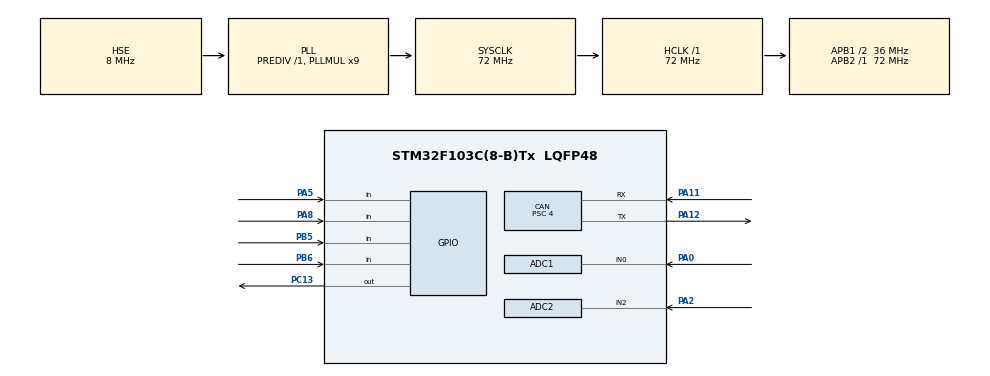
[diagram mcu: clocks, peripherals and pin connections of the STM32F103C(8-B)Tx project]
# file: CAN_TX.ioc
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ADC1.Channel-2\#ChannelRegularConversion=ADC_CHANNEL_0
ADC1.ContinuousConvMode=DISABLE
ADC1.EnableRegularConversion=ENABLE
ADC1.NbrOfConversionFlag=1
ADC1.Rank-2\#ChannelRegularConversion=1
ADC1.SamplingTime-2\#ChannelRegularConversion=ADC_SAMPLETIME_1CYCLE_5
ADC1.master=1
ADC2.Channel-1\#ChannelRegularConversion=ADC_CHANNEL_2
ADC2.ContinuousConvMode=ENABLE
ADC2.EnableRegularConversion=ENABLE
ADC2.NbrOfConversionFlag=1
ADC2.Rank-1\#ChannelRegularConversion=1
ADC2.SamplingTime-1\#ChannelRegularConversion=ADC_SAMPLETIME_1CYCLE_5
CAN.ABOM=ENABLE
CAN.AWUM=ENABLE
CAN.BS1=CAN_BS1_13TQ
CAN.BS2=CAN_BS2_4TQ
CAN.CalculateBaudRate=500000
CAN.CalculateTimeBit=2000
CAN.CalculateTimeQuantum=111.11111111111111
CAN.Prescaler=4
CAN.TXFP=ENABLE
FREERTOS.Queues01=adcQueue,4,sensor_data_t,0,Dynamic,NULL,NULL;gpioQueue,5,sensor_data_t,0,Dynamic,NULL,NULL
FREERTOS.Tasks01=defaultTask,0,128,StartDefaultTask,Default,NULL,Dynamic,NULL,NULL;ADC_Task,0,128,StartTask02,Default,NULL,Dynamic,NULL,NULL;GPIO_Task,0,128,StartTask03,Default,NULL,Dynamic,NULL,NULL;CAN_Task,2,128,StartTask04,Default,NULL,Dynamic,NULL,NULL;Brake_task,1,128,StartTask05,Default,NULL,Dynamic,NULL,NULL
FREERTOS.configTOTAL_HEAP_SIZE=8192
Mcu.Family=STM32F1
Mcu.Name=STM32F103C(8-B)Tx
Mcu.Package=LQFP48
NVIC.PriorityGroup=NVIC_PRIORITYGROUP_4
NVIC.TIM4_IRQn=true\:15\:0\:false\:false\:true\:false\:false\:true\:true
NVIC.TimeBase=TIM4_IRQn
NVIC.TimeBaseIP=TIM4
PA0-WKUP.Signal=ADCx_IN0
PA11.Mode=CAN_Activate
PA11.Signal=CAN_RX
PA12.Mode=CAN_Activate
PA12.Signal=CAN_TX
PA13.Mode=Serial_Wire
PA13.Signal=SYS_JTMS-SWDIO
PA14.Mode=Serial_Wire
PA14.Signal=SYS_JTCK-SWCLK
PA2.Signal=ADCx_IN2
PA5.GPIO_PuPd=GPIO_PULLDOWN
PA5.Signal=GPIO_Input
PA8.GPIO_PuPd=GPIO_PULLDOWN
PA8.Signal=GPIO_Input
PB5.GPIO_PuPd=GPIO_PULLDOWN
PB5.Signal=GPIO_Input
PB6.GPIO_PuPd=GPIO_PULLDOWN
PB6.Signal=GPIO_Input
PC13-TAMPER-RTC.Signal=GPIO_Output
PD0-OSC_IN.Mode=HSE-External-Oscillator
PD0-OSC_IN.Signal=RCC_OSC_IN
PD1-OSC_OUT.Mode=HSE-External-Oscillator
PD1-OSC_OUT.Signal=RCC_OSC_OUT
ProjectManager.HeapSize=0x200
ProjectManager.StackSize=0x400
ProjectManager.TargetToolchain=MDK-ARM V5.32
RCC.ADCPresc=RCC_ADCPCLK2_DIV6
RCC.AHBFreq_Value=72000000
RCC.APB1CLKDivider=RCC_HCLK_DIV2
RCC.APB1Freq_Value=36000000
RCC.APB1TimFreq_Value=72000000
RCC.APB2Freq_Value=72000000
RCC.APB2TimFreq_Value=72000000
RCC.HCLKFreq_Value=72000000
RCC.PLLMUL=RCC_PLL_MUL9
RCC.PLLSourceVirtual=RCC_PLLSOURCE_HSE
RCC.SYSCLKFreq_VALUE=72000000
RCC.SYSCLKSource=RCC_SYSCLKSOURCE_PLLCLK
RCC.USBFreq_Value=72000000
SH.ADCx_IN0.0=ADC1_IN0,IN0
SH.ADCx_IN2.0=ADC2_IN2,IN2
VP_FREERTOS_VS_CMSIS_V1.Mode=CMSIS_V1
VP_SYS_VS_tim4.Mode=TIM4
board=custom

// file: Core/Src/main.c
/* USER CODE BEGIN Header */
/**
  ******************************************************************************
  * @file           : main.c
  * @brief          : Main program body
  ******************************************************************************
  * @attention
  *
  * Copyright (c) 2025 STMicroelectronics.
  * All rights reserved.
  *
  * This software is licensed under terms that can be found in the LICENSE file
  * in the root directory of this software component.
  * If no LICENSE file comes with this software, it is provided AS-IS.
  *
  ******************************************************************************
  */
/* USER CODE END Header */
#include "main.h"
#include "cmsis_os.h"

ADC_HandleTypeDef hadc1;
ADC_HandleTypeDef hadc2;

CAN_HandleTypeDef hcan;

osThreadId defaultTaskHandle;
osThreadId ADC_TaskHandle;
osThreadId GPIO_TaskHandle;
osThreadId CAN_TaskHandle;
osThreadId Brake_taskHandle;
osMessageQId adcQueueHandle;
osMessageQId gpioQueueHandle;
/* USER CODE BEGIN PV */
volatile uint8_t latest_brake = 0; // dùng volatile d? FreeRTOS không t?i uu sai

/* USER CODE END PV */

void SystemClock_Config(void);
static void MX_GPIO_Init(void);
static void MX_CAN_Init(void);
static void MX_ADC1_Init(void);
static void MX_ADC2_Init(void);
void StartDefaultTask(void const * argument);
void StartTask02(void const * argument);
void StartTask03(void const * argument);
void StartTask04(void const * argument);
void StartTask05(void const * argument);

/* USER CODE BEGIN 0 */
typedef struct {
    uint16_t voltage;
    uint16_t temperature;
} adc_data_t;

typedef struct {
    uint8_t headlight;
    uint8_t turn_left;
    uint8_t turn_right;
} gpio_data_t;

/* USER CODE END 0 */

int main(void)
{

  /* MCU Configuration--------------------------------------------------------*/

  /* Reset of all peripherals, Initializes the Flash interface and the Systick. */
  HAL_Init();

  /* Configure the system clock */
  SystemClock_Config();

  /* Initialize all configured peripherals */
  MX_GPIO_Init();
  MX_CAN_Init();
  MX_ADC1_Init();
  MX_ADC2_Init();
  /* USER CODE BEGIN 2 */
HAL_CAN_Start(&hcan);
  CAN_FilterTypeDef filterConfig;
  filterConfig.FilterActivation = ENABLE;
  filterConfig.FilterBank = 0;
  filterConfig.FilterFIFOAssignment = CAN_FILTER_FIFO0;
  filterConfig.FilterIdHigh = 0x123 << 5;
  filterConfig.FilterIdLow = 0x0000;
  filterConfig.FilterMaskIdHigh = 0xFFE0;
  filterConfig.FilterMaskIdLow = 0x0000;
  filterConfig.FilterMode = CAN_FILTERMODE_IDMASK;
  filterConfig.FilterScale = CAN_FILTERSCALE_32BIT;

  HAL_CAN_ConfigFilter(&hcan, &filterConfig);

  /* USER CODE END 2 */

  /* Create the queue(s) */
  /* definition and creation of adcQueue */
  osMessageQDef(adcQueue, 4, adc_data_t);
  adcQueueHandle = osMessageCreate(osMessageQ(adcQueue), NULL);

  /* definition and creation of gpioQueue */
  osMessageQDef(gpioQueue, 4, gpio_data_t);
  gpioQueueHandle = osMessageCreate(osMessageQ(gpioQueue), NULL);

  /* Create the thread(s) */
  /* definition and creation of defaultTask */
  osThreadDef(defaultTask, StartDefaultTask, osPriorityNormal, 0, 128);
  defaultTaskHandle = osThreadCreate(osThread(defaultTask), NULL);

  /* definition and creation of ADC_Task */
  osThreadDef(ADC_Task, StartTask02, osPriorityNormal, 0, 128);
  ADC_TaskHandle = osThreadCreate(osThread(ADC_Task), NULL);

  /* definition and creation of GPIO_Task */
  osThreadDef(GPIO_Task, StartTask03, osPriorityNormal, 0, 128);
  GPIO_TaskHandle = osThreadCreate(osThread(GPIO_Task), NULL);

  /* definition and creation of CAN_Task */
  osThreadDef(CAN_Task, StartTask04, osPriorityHigh, 0, 128);
  CAN_TaskHandle = osThreadCreate(osThread(CAN_Task), NULL);

  /* definition and creation of Brake_task */
  osThreadDef(Brake_task, StartTask05, osPriorityAboveNormal, 0, 128);
  Brake_taskHandle = osThreadCreate(osThread(Brake_task), NULL);

  /* Start scheduler */
  osKernelStart();

  /* We should never get here as control is now taken by the scheduler */

  /* Infinite loop */
  while (1)
  {

}
}

void SystemClock_Config(void)
{
  RCC_OscInitTypeDef RCC_OscInitStruct = {0};
  RCC_ClkInitTypeDef RCC_ClkInitStruct = {0};
  RCC_PeriphCLKInitTypeDef PeriphClkInit = {0};

  /** Initializes the RCC Oscillators according to the specified parameters
  * in the RCC_OscInitTypeDef structure.
  */
  RCC_OscInitStruct.OscillatorType = RCC_OSCILLATORTYPE_HSE;
  RCC_OscInitStruct.HSEState = RCC_HSE_ON;
  RCC_OscInitStruct.HSEPredivValue = RCC_HSE_PREDIV_DIV1;
  RCC_OscInitStruct.HSIState = RCC_HSI_ON;
  RCC_OscInitStruct.PLL.PLLState = RCC_PLL_ON;
  RCC_OscInitStruct.PLL.PLLSource = RCC_PLLSOURCE_HSE;
  RCC_OscInitStruct.PLL.PLLMUL = RCC_PLL_MUL9;
  if (HAL_RCC_OscConfig(&RCC_OscInitStruct) != HAL_OK)
  {
    Error_Handler();
  }

  /** Initializes the CPU, AHB and APB buses clocks
  */
  RCC_ClkInitStruct.ClockType = RCC_CLOCKTYPE_HCLK|RCC_CLOCKTYPE_SYSCLK
                              |RCC_CLOCKTYPE_PCLK1|RCC_CLOCKTYPE_PCLK2;
  RCC_ClkInitStruct.SYSCLKSource = RCC_SYSCLKSOURCE_PLLCLK;
  RCC_ClkInitStruct.AHBCLKDivider = RCC_SYSCLK_DIV1;
  RCC_ClkInitStruct.APB1CLKDivider = RCC_HCLK_DIV2;
  RCC_ClkInitStruct.APB2CLKDivider = RCC_HCLK_DIV1;

  if (HAL_RCC_ClockConfig(&RCC_ClkInitStruct, FLASH_LATENCY_2) != HAL_OK)
  {
    Error_Handler();
  }
  PeriphClkInit.PeriphClockSelection = RCC_PERIPHCLK_ADC;
  PeriphClkInit.AdcClockSelection = RCC_ADCPCLK2_DIV6;
  if (HAL_RCCEx_PeriphCLKConfig(&PeriphClkInit) != HAL_OK)
  {
    Error_Handler();
  }
}

static void MX_ADC1_Init(void)
{

  ADC_ChannelConfTypeDef sConfig = {0};

  /** Common config
  */
  hadc1.Instance = ADC1;
  hadc1.Init.ScanConvMode = ADC_SCAN_DISABLE;
  hadc1.Init.ContinuousConvMode = DISABLE;
  hadc1.Init.DiscontinuousConvMode = DISABLE;
  hadc1.Init.ExternalTrigConv = ADC_SOFTWARE_START;
  hadc1.Init.DataAlign = ADC_DATAALIGN_RIGHT;
  hadc1.Init.NbrOfConversion = 1;
  if (HAL_ADC_Init(&hadc1) != HAL_OK)
  {
    Error_Handler();
  }

  /** Configure Regular Channel
  */
  sConfig.Channel = ADC_CHANNEL_0;
  sConfig.Rank = ADC_REGULAR_RANK_1;
  sConfig.SamplingTime = ADC_SAMPLETIME_1CYCLE_5;
  if (HAL_ADC_ConfigChannel(&hadc1, &sConfig) != HAL_OK)
  {
    Error_Handler();
  }

}

static void MX_ADC2_Init(void)
{

  ADC_ChannelConfTypeDef sConfig = {0};

  /** Common config
  */
  hadc2.Instance = ADC2;
  hadc2.Init.ScanConvMode = ADC_SCAN_DISABLE;
  hadc2.Init.ContinuousConvMode = ENABLE;
  hadc2.Init.DiscontinuousConvMode = DISABLE;
  hadc2.Init.ExternalTrigConv = ADC_SOFTWARE_START;
  hadc2.Init.DataAlign = ADC_DATAALIGN_RIGHT;
  hadc2.Init.NbrOfConversion = 1;
  if (HAL_ADC_Init(&hadc2) != HAL_OK)
  {
    Error_Handler();
  }

  /** Configure Regular Channel
  */
  sConfig.Channel = ADC_CHANNEL_2;
  sConfig.Rank = ADC_REGULAR_RANK_1;
  sConfig.SamplingTime = ADC_SAMPLETIME_1CYCLE_5;
  if (HAL_ADC_ConfigChannel(&hadc2, &sConfig) != HAL_OK)
  {
    Error_Handler();
  }

}

static void MX_CAN_Init(void)
{

  hcan.Instance = CAN1;
  hcan.Init.Prescaler = 4;
  hcan.Init.Mode = CAN_MODE_NORMAL;
  hcan.Init.SyncJumpWidth = CAN_SJW_1TQ;
  hcan.Init.TimeSeg1 = CAN_BS1_13TQ;
  hcan.Init.TimeSeg2 = CAN_BS2_4TQ;
  hcan.Init.TimeTriggeredMode = DISABLE;
  hcan.Init.AutoBusOff = ENABLE;
  hcan.Init.AutoWakeUp = ENABLE;
  hcan.Init.AutoRetransmission = DISABLE;
  hcan.Init.ReceiveFifoLocked = DISABLE;
  hcan.Init.TransmitFifoPriority = ENABLE;
  if (HAL_CAN_Init(&hcan) != HAL_OK)
  {
    Error_Handler();
  }

}

static void MX_GPIO_Init(void)
{
  GPIO_InitTypeDef GPIO_InitStruct = {0};

  /* GPIO Ports Clock Enable */
  __HAL_RCC_GPIOC_CLK_ENABLE();
  __HAL_RCC_GPIOD_CLK_ENABLE();
  __HAL_RCC_GPIOA_CLK_ENABLE();
  __HAL_RCC_GPIOB_CLK_ENABLE();

  /*Configure GPIO pin Output Level */
  HAL_GPIO_WritePin(GPIOC, GPIO_PIN_13, GPIO_PIN_RESET);

  /*Configure GPIO pin : PC13 */
  GPIO_InitStruct.Pin = GPIO_PIN_13;
  GPIO_InitStruct.Mode = GPIO_MODE_OUTPUT_PP;
  GPIO_InitStruct.Pull = GPIO_NOPULL;
  GPIO_InitStruct.Speed = GPIO_SPEED_FREQ_LOW;
  HAL_GPIO_Init(GPIOC, &GPIO_InitStruct);

  /*Configure GPIO pins : PA5 PA8 */
  GPIO_InitStruct.Pin = GPIO_PIN_5|GPIO_PIN_8;
  GPIO_InitStruct.Mode = GPIO_MODE_INPUT;
  GPIO_InitStruct.Pull = GPIO_PULLDOWN;
  HAL_GPIO_Init(GPIOA, &GPIO_InitStruct);

  /*Configure GPIO pins : PB5 PB6 */
  GPIO_InitStruct.Pin = GPIO_PIN_5|GPIO_PIN_6;
  GPIO_InitStruct.Mode = GPIO_MODE_INPUT;
  GPIO_InitStruct.Pull = GPIO_PULLDOWN;
  HAL_GPIO_Init(GPIOB, &GPIO_InitStruct);

}

void StartDefaultTask(void const * argument)
{
  for(;;)
  {
    osDelay(1);
  }
}

void StartTask02(void const * argument)
{
  /* USER CODE BEGIN StartTask02 */
  /* Infinite loop */
  adc_data_t data;
  for(;;)
  {
    HAL_ADC_Start(&hadc1);
    HAL_ADC_PollForConversion(&hadc1, HAL_MAX_DELAY);
    data.voltage = (uint16_t)((HAL_ADC_GetValue(&hadc1) / 4095.0f) * 600.0f);
    HAL_ADC_Stop(&hadc1);

    HAL_ADC_Start(&hadc2);
    HAL_ADC_PollForConversion(&hadc2, HAL_MAX_DELAY);
    data.temperature = (uint16_t)((HAL_ADC_GetValue(&hadc2) / 4095.0f) * 800.0f);
    HAL_ADC_Stop(&hadc2);

    osMessagePut(adcQueueHandle, *((uint32_t*)&data), 0);
    osDelay(100);
  }
  /* USER CODE END StartTask02 */
}

void StartTask03(void const * argument)
{
  /* USER CODE BEGIN StartTask03 */
  /* Infinite loop */
  gpio_data_t data;
  for(;;)
  {
    data.headlight = HAL_GPIO_ReadPin(GPIOA, GPIO_PIN_5);
    data.turn_left = HAL_GPIO_ReadPin(GPIOB, GPIO_PIN_5);
    data.turn_right = HAL_GPIO_ReadPin(GPIOB, GPIO_PIN_6);

osMessagePut(gpioQueueHandle, *((uint32_t*)&data), 0);
    osDelay(100);
  }
  /* USER CODE END StartTask03 */
}

void StartTask04(void const * argument)
{
  adc_data_t adcData;
  gpio_data_t gpioData;
	  uint32_t adcRaw;
  uint32_t gpioRaw;
  uint8_t TxData_Info[5];   // g?m 2 byte temp + 2 byte voltage + 1 byte brake
  uint8_t TxData_Light[5];  // headlight, turn_left, turn_right

  CAN_TxHeaderTypeDef TxHeader_Info = { .StdId = 0x301, .IDE = CAN_ID_STD, .RTR = CAN_RTR_DATA, .DLC = 5 };
  CAN_TxHeaderTypeDef TxHeader_Light = { .StdId = 0x202, .IDE = CAN_ID_STD, .RTR = CAN_RTR_DATA, .DLC = 1 };
  uint32_t TxMailbox;

  for(;;)
  {
     osEvent evt1 = osMessageGet(adcQueueHandle, 0);
    osEvent evt2 = osMessageGet(gpioQueueHandle, 0);

    if (evt1.status == osEventMessage && evt2.status == osEventMessage) {
      adcRaw = evt1.value.v;
      gpioRaw = evt2.value.v;

      adcData = *((adc_data_t*)&adcRaw);
      gpioData = *((gpio_data_t*)&gpioRaw);

      TxData_Info[0] = (adcData.temperature >> 8) & 0xFF;
      TxData_Info[1] = adcData.temperature & 0xFF;
      TxData_Info[2] = (adcData.voltage >> 8) & 0xFF;
      TxData_Info[3] = adcData.voltage & 0xFF;
			TxData_Info[4] = (latest_brake & 0x01) << 7; //MSB

      TxData_Light[0] = (adcData.temperature >> 8) & 0xFF;
			TxData_Light[1] = adcData.temperature & 0xFF;
			TxData_Light[2] = (adcData.voltage >> 8) & 0xFF;
			TxData_Light[3] = adcData.voltage & 0xFF;
			TxData_Light[4] = (gpioData.headlight << 3) |
                  (gpioData.turn_left << 2) |
                  (gpioData.turn_right << 1) |
                  (latest_brake << 0);  // brake ? bit 0

      HAL_CAN_AddTxMessage(&hcan, &TxHeader_Info, TxData_Info, &TxMailbox);
      HAL_CAN_AddTxMessage(&hcan, &TxHeader_Light, TxData_Light, &TxMailbox);
    }

    osDelay(100);
  }
}

void StartTask05(void const * argument)
{
  /* USER CODE BEGIN StartTask05 */
  /* Infinite loop */
  for(;;)
  {
       latest_brake = HAL_GPIO_ReadPin(GPIOA, GPIO_PIN_8);  // ví d? d?c PB1
    osDelay(100);
  }
  /* USER CODE END StartTask05 */
}

void HAL_TIM_PeriodElapsedCallback(TIM_HandleTypeDef *htim)
{
  if (htim->Instance == TIM4) {
    HAL_IncTick();
  }
}

void Error_Handler(void)
{
  __disable_irq();
  while (1)
  {
  }
}
